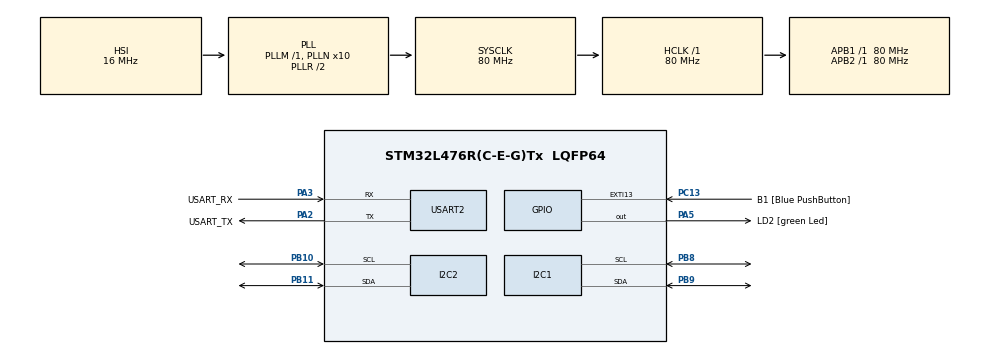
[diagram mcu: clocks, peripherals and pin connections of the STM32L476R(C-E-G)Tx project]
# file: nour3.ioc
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I2C1.OwnAddress=0x55
I2C1.Timing=0x10D19CE4
I2C2.OwnAddress=0
I2C2.Timing=0x10D19CE4
Mcu.Family=STM32L4
Mcu.Name=STM32L476R(C-E-G)Tx
Mcu.Package=LQFP64
NVIC.I2C1_ER_IRQn=true\:0\:0\:false\:false\:true\:true\:true\:true
NVIC.I2C1_EV_IRQn=true\:0\:0\:false\:false\:true\:true\:true\:true
NVIC.I2C2_ER_IRQn=true\:0\:0\:false\:false\:true\:true\:true\:true
NVIC.I2C2_EV_IRQn=true\:0\:0\:false\:false\:true\:true\:true\:true
NVIC.PriorityGroup=NVIC_PRIORITYGROUP_4
PA13\ (JTMS-SWDIO).GPIO_Label=TMS
PA13\ (JTMS-SWDIO).Mode=Serial_Wire
PA13\ (JTMS-SWDIO).Signal=SYS_JTMS-SWDIO
PA14\ (JTCK-SWCLK).GPIO_Label=TCK
PA14\ (JTCK-SWCLK).Mode=Serial_Wire
PA14\ (JTCK-SWCLK).Signal=SYS_JTCK-SWCLK
PA2.GPIO_Label=USART_TX
PA2.GPIO_Mode=GPIO_MODE_AF_PP
PA2.GPIO_PuPd=GPIO_NOPULL
PA2.GPIO_Speed=GPIO_SPEED_FREQ_VERY_HIGH
PA2.Mode=Asynchronous
PA2.Signal=USART2_TX
PA3.GPIO_Label=USART_RX
PA3.GPIO_Mode=GPIO_MODE_AF_PP
PA3.GPIO_PuPd=GPIO_NOPULL
PA3.GPIO_Speed=GPIO_SPEED_FREQ_VERY_HIGH
PA3.Mode=Asynchronous
PA3.Signal=USART2_RX
PA5.GPIO_Label=LD2 [green Led]
PA5.GPIO_ModeDefaultOutputPP=GPIO_MODE_OUTPUT_PP
PA5.GPIO_PuPd=GPIO_NOPULL
PA5.GPIO_Speed=GPIO_SPEED_FREQ_LOW
PA5.Signal=GPIO_Output
PB10.GPIO_Pu=GPIO_PULLUP
PB10.Mode=I2C
PB10.Signal=I2C2_SCL
PB11.GPIO_Pu=GPIO_PULLUP
PB11.Mode=I2C
PB11.Signal=I2C2_SDA
PB3\ (JTDO-TRACESWO).GPIO_Label=SWO
PB3\ (JTDO-TRACESWO).Signal=SYS_JTDO-SWO
PB8.GPIO_Pu=GPIO_PULLUP
PB8.Mode=I2C
PB8.Signal=I2C1_SCL
PB9.GPIO_Pu=GPIO_PULLUP
PB9.Mode=I2C
PB9.Signal=I2C1_SDA
PC13.GPIO_Label=B1 [Blue PushButton]
PC13.GPIO_ModeDefaultEXTI=GPIO_MODE_IT_FALLING
PC13.GPIO_PuPd=GPIO_NOPULL
PC13.Signal=GPXTI13
PC14-OSC32_IN\ (PC14).Mode=LSE-External-Oscillator
PC14-OSC32_IN\ (PC14).Signal=RCC_OSC32_IN
PC15-OSC32_OUT\ (PC15).Mode=LSE-External-Oscillator
PC15-OSC32_OUT\ (PC15).Signal=RCC_OSC32_OUT
PH0-OSC_IN\ (PH0).Signal=RCC_OSC_IN
PH1-OSC_OUT\ (PH1).Signal=RCC_OSC_OUT
ProjectManager.HeapSize=0x200
ProjectManager.StackSize=0x400
ProjectManager.TargetToolchain=STM32CubeIDE
RCC.ADCFreq_Value=64000000
RCC.AHBFreq_Value=80000000
RCC.APB1Freq_Value=80000000
RCC.APB1TimFreq_Value=80000000
RCC.APB2Freq_Value=80000000
RCC.APB2TimFreq_Value=80000000
RCC.CortexFreq_Value=80000000
RCC.HCLKFreq_Value=80000000
RCC.HSE_VALUE=8000000
RCC.HSI_VALUE=16000000
RCC.MSI_VALUE=4000000
RCC.PLLN=10
RCC.PLLSourceVirtual=RCC_PLLSOURCE_HSI
RCC.PREFETCH_ENABLE=1
RCC.SYSCLKFreq_VALUE=80000000
RCC.SYSCLKSource=RCC_SYSCLKSOURCE_PLLCLK
RCC.USBFreq_Value=64000000
RCC.VCOOutputFreq_Value=160000000
USART2.VirtualMode-Asynchronous=VM_ASYNC
board=NUCLEO-L476RG

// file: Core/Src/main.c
/* USER CODE BEGIN Header */
/**
  ******************************************************************************
  * @file           : main.c
  * @brief          : I2C Bridge (RPi -> STM32 -> MD25)
  * @target         : STM32L476RG
  ******************************************************************************
  */
/* USER CODE END Header */
#include "main.h"

I2C_HandleTypeDef hi2c1;
I2C_HandleTypeDef hi2c2;

UART_HandleTypeDef huart2;

/* USER CODE BEGIN PV */
// Buffers
uint8_t rxData[2];       // Buffer de réception (Registre + Valeur)
uint8_t txData[2] = "OK"; // Réponse par défaut si le RPi lit

// Drapeaux pour la gestion asynchrone
volatile uint8_t dataReceivedFlag = 0;
uint8_t md25Buffer[2];   // Buffer tampon pour l'envoi au MD25
/* USER CODE END PV */

void SystemClock_Config(void);
static void MX_GPIO_Init(void);
static void MX_USART2_UART_Init(void);
static void MX_I2C1_Init(void);
static void MX_I2C2_Init(void);

int main(void)
{

  /* MCU Configuration--------------------------------------------------------*/

  /* Reset of all peripherals, Initializes the Flash interface and the Systick. */
  HAL_Init();

  /* Configure the system clock */
  SystemClock_Config();

  /* Initialize all configured peripherals */
  MX_GPIO_Init();
  MX_USART2_UART_Init();
  MX_I2C1_Init();
  MX_I2C2_Init();
  /* USER CODE BEGIN 2 */
  // LED OFF au démarrage
  HAL_GPIO_WritePin(GPIOA, GPIO_PIN_5, GPIO_PIN_RESET);

  // Démarrer l'écoute sur I2C1 (Slave)
  if(HAL_I2C_EnableListen_IT(&hi2c1) != HAL_OK)
  {
      Error_Handler();
  }
  /* USER CODE END 2 */

  /* Infinite loop */
  /* USER CODE BEGIN WHILE */
  while (1)
  {
    /* Traitement du PONT (Bridge) dans la boucle principale */
    if (dataReceivedFlag == 1)
    {
        // 1. On abaisse le drapeau
        dataReceivedFlag = 0;

        // 2. On allume la LED STM32 pour dire "J'ai reçu et je traite"
        HAL_GPIO_WritePin(GPIOA, GPIO_PIN_5, GPIO_PIN_SET);

        // 3. Envoi au MD25 via I2C2 (Mode Master)
        // Adresse MD25 0x58 (7-bit) -> 0xB0 (8-bit écriture)
        if (HAL_I2C_Master_Transmit(&hi2c2, (0x58 << 1), md25Buffer, 2, 100) != HAL_OK)
        {
            // Erreur transmission MD25 (ex: débranché)
        }

        // 4. LED OFF après traitement
        HAL_GPIO_WritePin(GPIOA, GPIO_PIN_5, GPIO_PIN_RESET);
    }
    /* USER CODE END WHILE */

  }
}

void SystemClock_Config(void)
{
  RCC_OscInitTypeDef RCC_OscInitStruct = {0};
  RCC_ClkInitTypeDef RCC_ClkInitStruct = {0};

  /** Configure the main internal regulator output voltage
  */
  if (HAL_PWREx_ControlVoltageScaling(PWR_REGULATOR_VOLTAGE_SCALE1) != HAL_OK)
  {
    Error_Handler();
  }

  /** Initializes the RCC Oscillators according to the specified parameters
  * in the RCC_OscInitTypeDef structure.
  */
  RCC_OscInitStruct.OscillatorType = RCC_OSCILLATORTYPE_HSI;
  RCC_OscInitStruct.HSIState = RCC_HSI_ON;
  RCC_OscInitStruct.HSICalibrationValue = RCC_HSICALIBRATION_DEFAULT;
  RCC_OscInitStruct.PLL.PLLState = RCC_PLL_ON;
  RCC_OscInitStruct.PLL.PLLSource = RCC_PLLSOURCE_HSI;
  RCC_OscInitStruct.PLL.PLLM = 1;
  RCC_OscInitStruct.PLL.PLLN = 10;
  RCC_OscInitStruct.PLL.PLLP = RCC_PLLP_DIV7;
  RCC_OscInitStruct.PLL.PLLQ = RCC_PLLQ_DIV2;
  RCC_OscInitStruct.PLL.PLLR = RCC_PLLR_DIV2;
  if (HAL_RCC_OscConfig(&RCC_OscInitStruct) != HAL_OK)
  {
    Error_Handler();
  }

  /** Initializes the CPU, AHB and APB buses clocks
  */
  RCC_ClkInitStruct.ClockType = RCC_CLOCKTYPE_HCLK|RCC_CLOCKTYPE_SYSCLK
                              |RCC_CLOCKTYPE_PCLK1|RCC_CLOCKTYPE_PCLK2;
  RCC_ClkInitStruct.SYSCLKSource = RCC_SYSCLKSOURCE_PLLCLK;
  RCC_ClkInitStruct.AHBCLKDivider = RCC_SYSCLK_DIV1;
  RCC_ClkInitStruct.APB1CLKDivider = RCC_HCLK_DIV1;
  RCC_ClkInitStruct.APB2CLKDivider = RCC_HCLK_DIV1;

  if (HAL_RCC_ClockConfig(&RCC_ClkInitStruct, FLASH_LATENCY_4) != HAL_OK)
  {
    Error_Handler();
  }
}

static void MX_I2C1_Init(void)
{

  hi2c1.Instance = I2C1;
  hi2c1.Init.Timing = 0x10D19CE4;
  hi2c1.Init.OwnAddress1 = 170;
  hi2c1.Init.AddressingMode = I2C_ADDRESSINGMODE_7BIT;
  hi2c1.Init.DualAddressMode = I2C_DUALADDRESS_DISABLE;
  hi2c1.Init.OwnAddress2 = 0;
  hi2c1.Init.OwnAddress2Masks = I2C_OA2_NOMASK;
  hi2c1.Init.GeneralCallMode = I2C_GENERALCALL_DISABLE;
  hi2c1.Init.NoStretchMode = I2C_NOSTRETCH_DISABLE;
  if (HAL_I2C_Init(&hi2c1) != HAL_OK)
  {
    Error_Handler();
  }

  /** Configure Analogue filter
  */
  if (HAL_I2CEx_ConfigAnalogFilter(&hi2c1, I2C_ANALOGFILTER_ENABLE) != HAL_OK)
  {
    Error_Handler();
  }

  /** Configure Digital filter
  */
  if (HAL_I2CEx_ConfigDigitalFilter(&hi2c1, 0) != HAL_OK)
  {
    Error_Handler();
  }

}

static void MX_I2C2_Init(void)
{

  hi2c2.Instance = I2C2;
  hi2c2.Init.Timing = 0x10D19CE4;
  hi2c2.Init.OwnAddress1 = 0;
  hi2c2.Init.AddressingMode = I2C_ADDRESSINGMODE_7BIT;
  hi2c2.Init.DualAddressMode = I2C_DUALADDRESS_DISABLE;
  hi2c2.Init.OwnAddress2 = 0;
  hi2c2.Init.OwnAddress2Masks = I2C_OA2_NOMASK;
  hi2c2.Init.GeneralCallMode = I2C_GENERALCALL_DISABLE;
  hi2c2.Init.NoStretchMode = I2C_NOSTRETCH_DISABLE;
  if (HAL_I2C_Init(&hi2c2) != HAL_OK)
  {
    Error_Handler();
  }

  /** Configure Analogue filter
  */
  if (HAL_I2CEx_ConfigAnalogFilter(&hi2c2, I2C_ANALOGFILTER_ENABLE) != HAL_OK)
  {
    Error_Handler();
  }

  /** Configure Digital filter
  */
  if (HAL_I2CEx_ConfigDigitalFilter(&hi2c2, 0) != HAL_OK)
  {
    Error_Handler();
  }

}

static void MX_USART2_UART_Init(void)
{

  huart2.Instance = USART2;
  huart2.Init.BaudRate = 115200;
  huart2.Init.WordLength = UART_WORDLENGTH_8B;
  huart2.Init.StopBits = UART_STOPBITS_1;
  huart2.Init.Parity = UART_PARITY_NONE;
  huart2.Init.Mode = UART_MODE_TX_RX;
  huart2.Init.HwFlowCtl = UART_HWCONTROL_NONE;
  huart2.Init.OverSampling = UART_OVERSAMPLING_16;
  huart2.Init.OneBitSampling = UART_ONE_BIT_SAMPLE_DISABLE;
  huart2.AdvancedInit.AdvFeatureInit = UART_ADVFEATURE_NO_INIT;
  if (HAL_UART_Init(&huart2) != HAL_OK)
  {
    Error_Handler();
  }

}

static void MX_GPIO_Init(void)
{
  GPIO_InitTypeDef GPIO_InitStruct = {0};

  /* GPIO Ports Clock Enable */
  __HAL_RCC_GPIOC_CLK_ENABLE();
  __HAL_RCC_GPIOH_CLK_ENABLE();
  __HAL_RCC_GPIOA_CLK_ENABLE();
  __HAL_RCC_GPIOB_CLK_ENABLE();

  /*Configure GPIO pin Output Level */
  HAL_GPIO_WritePin(LD2_GPIO_Port, LD2_Pin, GPIO_PIN_RESET);

  /*Configure GPIO pin : B1_Pin */
  GPIO_InitStruct.Pin = B1_Pin;
  GPIO_InitStruct.Mode = GPIO_MODE_IT_FALLING;
  GPIO_InitStruct.Pull = GPIO_NOPULL;
  HAL_GPIO_Init(B1_GPIO_Port, &GPIO_InitStruct);

  /*Configure GPIO pin : LD2_Pin */
  GPIO_InitStruct.Pin = LD2_Pin;
  GPIO_InitStruct.Mode = GPIO_MODE_OUTPUT_PP;
  GPIO_InitStruct.Pull = GPIO_NOPULL;
  GPIO_InitStruct.Speed = GPIO_SPEED_FREQ_LOW;
  HAL_GPIO_Init(LD2_GPIO_Port, &GPIO_InitStruct);

}

/* USER CODE BEGIN 4 */

// --- NOTE : J'ai supprimé HAL_I2C_MspInit ici car elle est dans stm32l4xx_hal_msp.c ---

void HAL_I2C_AddrCallback(I2C_HandleTypeDef *hi2c, uint8_t TransferDirection, uint16_t AddrMatchCode)
{
  if (hi2c->Instance == I2C1) // Seulement pour l'interface Esclave (RPi)
  {
      if (TransferDirection == I2C_DIRECTION_TRANSMIT)
      {
         // Le RPi veut ÉCRIRE (nous envoyer des données)
         HAL_I2C_Slave_Seq_Receive_IT(hi2c, rxData, 2, I2C_FIRST_AND_LAST_FRAME);
      }
      else
      {
         // Le RPi veut LIRE
         HAL_I2C_Slave_Seq_Transmit_IT(hi2c, txData, 2, I2C_FIRST_AND_LAST_FRAME);
      }
  }
}

void HAL_I2C_SlaveRxCpltCallback(I2C_HandleTypeDef *hi2c)
{
    if (hi2c->Instance == I2C1)
    {
        // Copie des données pour le main
        memcpy(md25Buffer, rxData, 2);
        dataReceivedFlag = 1;
        // Réécoute immédiate
        HAL_I2C_EnableListen_IT(hi2c);
    }
}

void HAL_I2C_SlaveTxCpltCallback(I2C_HandleTypeDef *hi2c)
{
    HAL_I2C_EnableListen_IT(hi2c);
}

void HAL_I2C_ListenCpltCallback(I2C_HandleTypeDef *hi2c)
{
    HAL_I2C_EnableListen_IT(hi2c);
}

void HAL_I2C_ErrorCallback(I2C_HandleTypeDef *hi2c)
{
  if (hi2c->Instance == I2C1)
  {
      HAL_I2C_DeInit(hi2c);
      MX_I2C1_Init();
      HAL_I2C_EnableListen_IT(hi2c);
  }
}
/* USER CODE END 4 */

void Error_Handler(void)
{
  __disable_irq();
  while (1)
  {
  }
}
